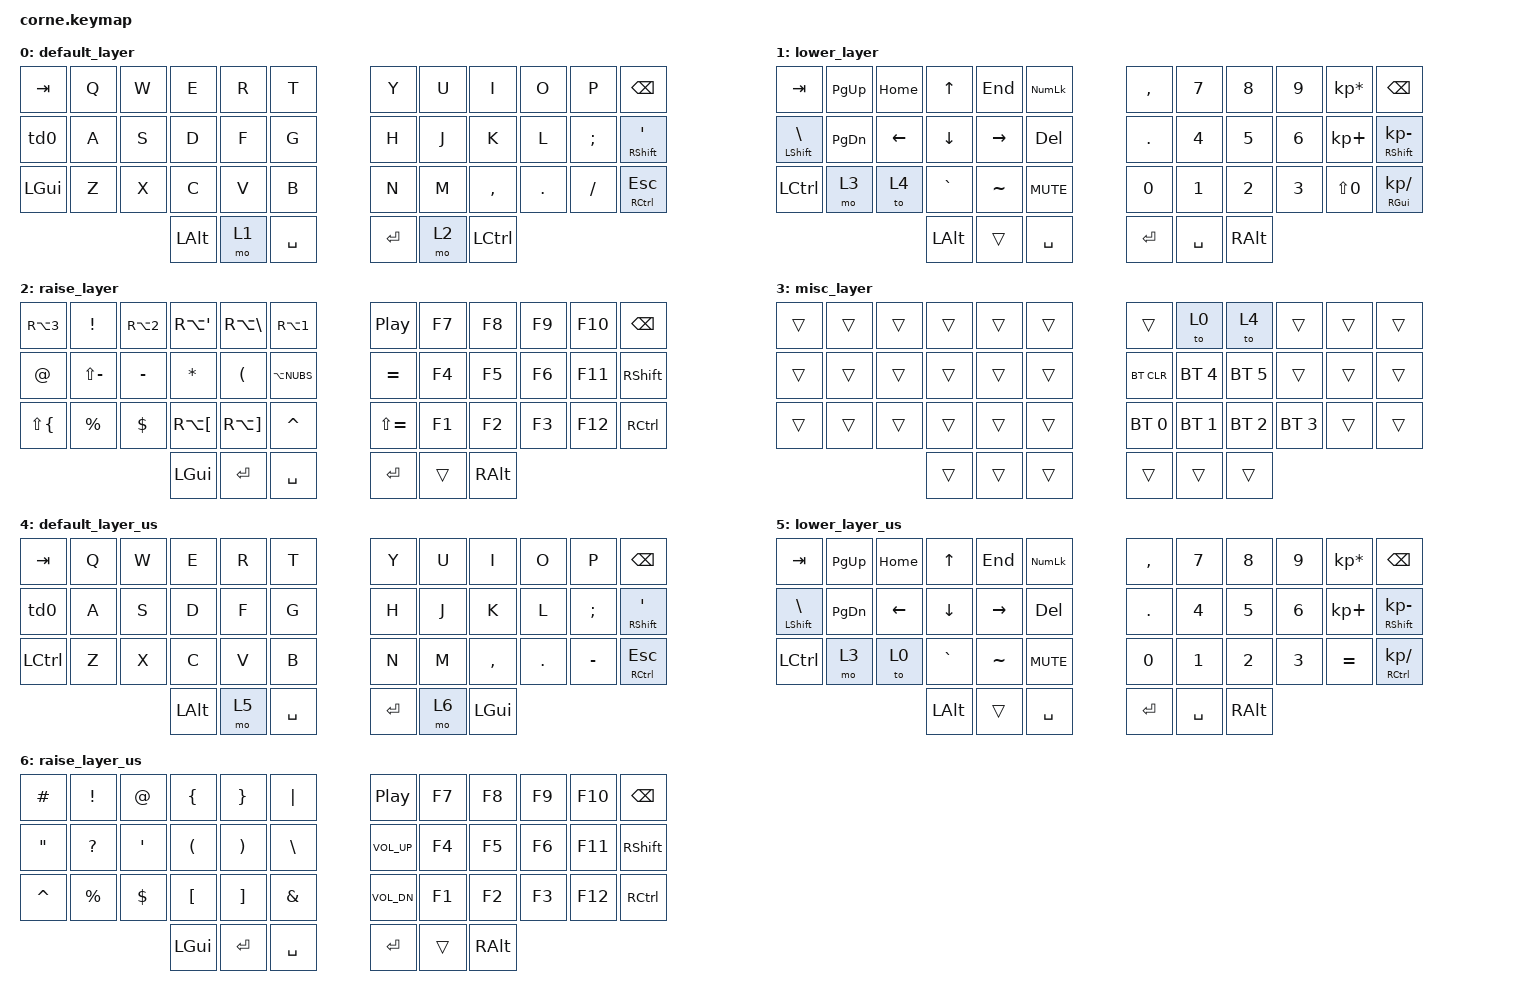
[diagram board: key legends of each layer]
/*
 * Copyright (c) 2020 The ZMK Contributors
 *
 * SPDX-License-Identifier: MIT
 */

#include <behaviors.dtsi>
#include <dt-bindings/zmk/keys.h>
#include <dt-bindings/zmk/bt.h>

#define TAPPING_TERM 210
#define QUICK_TAP    150

&mt {
	tapping-term-ms = <TAPPING_TERM>;
	quick-tap-ms = <QUICK_TAP>;
};


/ {
    behaviors {
        td0: tap_dance_0 {
            compatible = "zmk,behavior-tap-dance";
            label = "TAP_DANCE_0";
            #binding-cells = <0>;
            tapping-term-ms = <200>;
            bindings = <&kp LSHFT>, <&kp CAPS>;
        };
    };
        keymap {
                compatible = "zmk,keymap";

                default_layer {
// -----------------------------------------------------------------------------------------
// |  TAB  |  Q  |  W  |  E  |  R  |  T  |   |  Y  |  U   |  I  |  O  |  P  | BKSP |
// | SHIFT |  A  |  S  |  D  |  F  |  G  |   |  H  |  J   |  K  |  L  |  ;  |  '   |
// | CTRL  |  Z  |  X  |  C  |  V  |  B  |   |  N  |  M   |  ,  |  .  |  -  | ESC  |
//                     | ALT | LWR | SPC |   | ENT | RSE  | GUI |
                        bindings = <
   &kp TAB   &kp Q &kp W &kp E &kp R &kp T   &kp Y &kp U  &kp I     &kp O   &kp P    &kp BSPC
   &td0 &kp A &kp S &kp D &kp F &kp G   &kp H &kp J  &kp K     &kp L   &kp SEMI &mt RSHFT SQT
   &kp LGUI &kp Z &kp X &kp C &kp V &kp B   &kp N &kp M  &kp COMMA &kp DOT &kp FSLH &mt RCTRL ESC
                  &kp LALT &mo 1 &kp SPACE   &kp RET &mo 2 &kp LCTRL
                        >;
                };
                lower_layer {
// -----------------------------------------------------------------------------------------
// |  TAB         | PgUp          | Home        |  Up    |  End        | NUM Lock |    |  ,      |  7        |  8      |  9       |  *  |  BKSP  |
// | SHIFT        | PgDn          | Left        | Down   | Right       | Del      |    |  .      |  4        |  5      |  6       |  +  |    -   |
// | CTRL         | Misc layer    | Bluetoth  1 |   <    | >           | MUTE     |    |  0      |  1        |  2      |  3       |  =  |    /   |
//                           | GUI         |        | SPC         |         |     |   ENT   |           | L_ALT   |
                        bindings = <
   &kp TAB         &kp PAGE_UP    &kp HOME      &kp UP    &kp END      &kp KP_NLCK     &kp COMMA  &kp N7  &kp N8  &kp N9  &kp KP_MULTIPLY  &kp BSPC
   &mt LSHFT BSLH  &kp PAGE_DOWN  &kp LEFT      &kp DOWN  &kp RIGHT    &kp DEL         &kp DOT    &kp N4  &kp N5  &kp N6  &kp KP_PLUS      &mt RSHFT KP_MINUS
   &kp LCTRL       &mo 3          &to 4         &kp GRAVE &kp TILDE    &kp C_MUTE      &kp N0     &kp N1  &kp N2  &kp N3  &kp LS(N0)       &mt RGUI KP_DIVIDE
                          	                &kp LALT  &trans       &kp SPACE   &kp RET    &kp SPACE  &kp RALT
                        >;
                };

                raise_layer {
// -----------------------------------------------------------------------------------------
// |  #         |  !             |  @           |  {         |  }           |  |      |   | Play       | F7       | F8  | F9  | F10  |      |
// |  "         |  ?             |  '           |  (         |  )           |  \      |   | VolUp      | F4       | F5  | F6  | F11  | LSFT |
// |  ^         |  %             |  $           |  [         |  ]           |  &      |   | VolDn      | F1       | F2  | F3  | F12  | RCTL |
//                                              | GUI        |              | SPC     |   | ENT        |          | ALT |
                        bindings = <
   &kp RA(N3)   &kp EXCL          &kp RA(N2)    &kp RA(SQT)   &kp RA(BSLH)  &kp RA(N1)    &kp C_PP     &kp F7  &kp F8  &kp F9 &kp F10 &kp BSPC
   &kp AT       &kp LS(MINUS)     &kp MINUS     &kp ASTRK     &kp LPAR      &kp LA(NUBS)  &kp EQUAL    &kp F4  &kp F5  &kp F6 &kp F11 &kp RSHFT 
   &kp LS(LBRC) &kp PRCNT         &kp DLLR      &kp RA(LBKT)  &kp RA(RBKT)  &kp CARET     &kp LS(EQUAL) &kp F1  &kp F2  &kp F3 &kp F12 &kp RCTRL
                    	                        &kp LGUI      &kp RET       &kp SPACE     &kp RET      &trans  &kp RALT
                        >;
                };

                misc_layer {
// -----------------------------------------------------------------------------------------
// |      |         |        |        |        |       |  |         |          |         |        |       |      |
// |      |         |        |        |        |       |  |         |  BT 4    | BT 5    |        |       |      |
// |      |         |        |        |        |       |  |  BT 0   |  BT 1    | BT 2    | BT 3   |       |      |
//                           |        |        |       |  |         |          |         |
                        bindings = <
   &trans   &trans   &trans    &trans   &trans   &trans   &trans        &to 0         &to 4        &trans        &trans   &trans
   &trans   &trans   &trans    &trans   &trans   &trans   &bt BT_CLR    &bt BT_SEL 4  &bt BT_SEL 5  &trans        &trans   &trans
   &trans   &trans   &trans    &trans   &trans   &trans   &bt BT_SEL 0  &bt BT_SEL 1  &bt BT_SEL 2  &bt BT_SEL 3  &trans   &trans
                    	       &trans   &trans   &trans   &trans        &trans        &trans
                        >;
                };
                default_layer_us {
// -----------------------------------------------------------------------------------------
// |  TAB  |  Q  |  W  |  E  |  R  |  T  |   |  Y  |  U   |  I  |  O  |  P  | BKSP |
// | SHIFT |  A  |  S  |  D  |  F  |  G  |   |  H  |  J   |  K  |  L  |  ;  |  '   |
// | CTRL  |  Z  |  X  |  C  |  V  |  B  |   |  N  |  M   |  ,  |  .  |  -  | ESC  |
//                     | ALT | LWR | SPC |   | ENT | RSE  | GUI |
                        bindings = <
   &kp TAB   &kp Q &kp W &kp E &kp R &kp T   &kp Y &kp U  &kp I     &kp O   &kp P    &kp BSPC
   &td0 &kp A &kp S &kp D &kp F &kp G   &kp H &kp J  &kp K     &kp L   &kp SEMI &mt RSHFT SQT
   &kp LCTRL &kp Z &kp X &kp C &kp V &kp B   &kp N &kp M  &kp COMMA &kp DOT &kp MINUS &mt RCTRL ESC
                  &kp LALT &mo 5 &kp SPACE   &kp RET &mo 6 &kp LGUI
                        >;
                };
                lower_layer_us {
// -----------------------------------------------------------------------------------------
// |  TAB         | PgUp          | Home        |  Up    |  End        | NUM Lock |    |  ,      |  7        |  8      |  9       |  *  |  BKSP  |
// | SHIFT        | PgDn          | Left        | Down   | Right       | Del      |    |  .      |  4        |  5      |  6       |  +  |    -   |
// | CTRL         | Misc layer    | Bluetoth  1 |   <    | >           | MUTE     |    |  0      |  1        |  2      |  3       |  =  |    /   |
//                           | GUI         |        | SPC         |         |     |   ENT   |           | L_ALT   |
                        bindings = <
   &kp TAB         &kp PAGE_UP    &kp HOME      &kp UP       &kp END      &kp KP_NLCK     &kp COMMA  &kp N7  &kp N8  &kp N9  &kp KP_MULTIPLY  &kp BSPC
   &mt LSHFT BSLH  &kp PAGE_DOWN  &kp LEFT      &kp DOWN     &kp RIGHT    &kp DEL         &kp DOT    &kp N4  &kp N5  &kp N6  &kp KP_PLUS      &mt RSHFT KP_MINUS
   &kp LCTRL       &mo 3          &to 0         &kp GRAVE    &kp TILDE    &kp C_MUTE      &kp N0     &kp N1  &kp N2  &kp N3  &kp EQUAL       &mt RCTRL KP_DIVIDE
                          	                    &kp LALT  &trans       &kp SPACE       &kp RET    &kp SPACE  &kp RALT
                        >;
                };

                raise_layer_us {
// -----------------------------------------------------------------------------------------
// |  #         |  !             |  @           |  {         |  }           |  |      |   | Play       | F7       | F8  | F9  | F10  |      |
// |  "         |  ?             |  '           |  (         |  )           |  \      |   | VolUp      | F4       | F5  | F6  | F11  | LSFT |
// |  ^         |  %             |  $           |  [         |  ]           |  &      |   | VolDn      | F1       | F2  | F3  | F12  | RCTL |
//                                              | GUI        |              | SPC     |   | ENT        |          | ALT |
                        bindings = <
   &kp HASH     &kp EXCL         &kp AT       &kp LBRC      &kp RBRC      &kp PIPE     &kp C_PP     &kp F7  &kp F8  &kp F9 &kp F10 &kp BSPC
   &kp DQT      &kp QMARK        &kp SQT      &kp LPAR      &kp RPAR      &kp BSLH     &kp C_VOL_UP &kp F4  &kp F5  &kp F6 &kp F11 &kp RSHFT
   &kp CARET    &kp PRCNT        &kp DLLR     &kp LBKT      &kp RBKT      &kp AMPS     &kp C_VOL_DN &kp F1  &kp F2  &kp F3 &kp F12 &kp RCTRL
                    	                    &kp LGUI      &kp RET       &kp SPACE     &kp RET      &trans  &kp RALT
                        >;
                };
        };
};   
